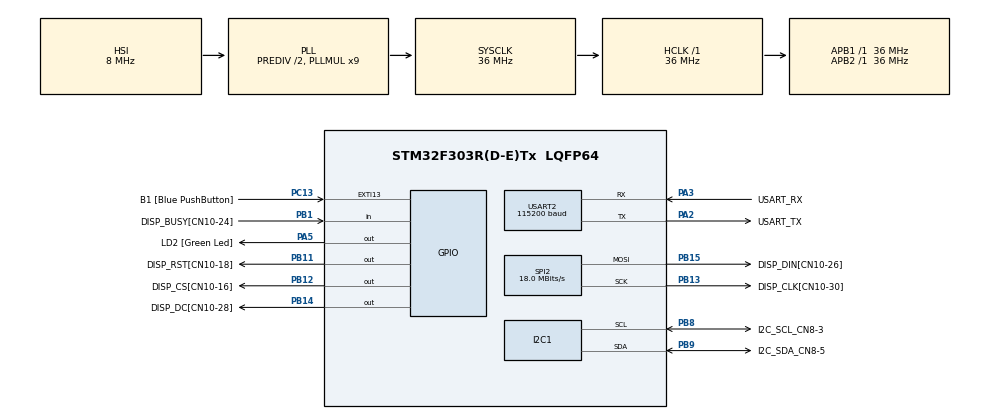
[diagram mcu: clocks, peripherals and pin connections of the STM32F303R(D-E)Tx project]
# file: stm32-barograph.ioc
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Mcu.Family=STM32F3
PA2.GPIO_PuPd=GPIO_NOPULL
RCC.CortexFreq_Value=36000000
ADC1.Overrun=ADC_OVR_DATA_PRESERVED
SPI2.VirtualType=VM_MASTER
ADC1.ContinuousConvMode=ENABLE
PB14.GPIO_Label=DISP_DC[CN10-28]
PA14.GPIO_Label=TCK
NVIC.RTC_WKUP_IRQn=true\:0\:0\:false\:false\:true\:true\:true
RCC.SYSCLKSourceVirtual=RCC_SYSCLKSOURCE_PLLCLK
PA3.GPIO_PuPd=GPIO_NOPULL
PA2.GPIO_Speed=GPIO_SPEED_FREQ_LOW
VP_RTC_VS_RTC_Activate.Mode=RTC_Enabled
PC13.GPIO_Label=B1 [Blue PushButton]
PB13.GPIO_Label=DISP_CLK[CN10-30]
PB11.Signal=GPIO_Output
PA3.GPIO_Speed=GPIO_SPEED_FREQ_LOW
PB13.Signal=SPI2_SCK
PB15.Signal=SPI2_MOSI
ProjectManager.StackSize=0x1000
PB11.GPIO_Speed=GPIO_SPEED_FREQ_HIGH
RTC.WakeUpClock-WakeUp=RTC_WAKEUPCLOCK_CK_SPRE_16BITS
ADC1.Offset-0\#ChannelRegularConversion=0
RCC.HCLKFreq_Value=36000000
ADC1.Resolution=ADC_RESOLUTION_12B
RCC.APB2TimFreq_Value=36000000
RCC.AHBFreq_Value=36000000
SPI2.BaudRatePrescaler=SPI_BAUDRATEPRESCALER_2
NVIC.EXTI15_10_IRQn=true\:0\:0\:false\:false\:true\:true\:true
ADC1.Channel-0\#ChannelRegularConversion=ADC_CHANNEL_VREFINT
RCC.HSE_VALUE=8000000
USART2.VirtualMode-Asynchronous=VM_ASYNC
RCC.RCC_PLLsource_Clock_Source_FROM_HSE=RCC_HSE_PREDIV_DIV2
RCC.RTCClockSelection=RCC_RTCCLKSOURCE_LSE
RCC.PLLMUL=RCC_PLL_MUL9
PB12.GPIO_Label=DISP_CS[CN10-16]
VP_ADC1_Vref_Input.Mode=IN-Vrefint
PC14-OSC32_IN.Mode=LSE-External-Oscillator
PA14.Mode=Serial_Wire
PA5.GPIO_PuPd=GPIO_NOPULL
PB1.GPIO_Label=DISP_BUSY[CN10-24]
SPI2.CalculateBaudRate=18.0 MBits/s
ADC1.SamplingTime-0\#ChannelRegularConversion=ADC_SAMPLETIME_601CYCLES_5
Mcu.Package=LQFP64
PB9.Signal=I2C1_SDA
PB1.Signal=GPIO_Input
SPI2.Mode=SPI_MODE_MASTER
PA2.GPIO_Label=USART_TX
RTC.WakeUpCounter-WakeUp=60
RCC.APB1TimFreq_Value=36000000
SPI2.Direction=SPI_DIRECTION_2LINES
PB13.Mode=TX_Only_Simplex_Unidirect_Master
PA3.Signal=USART2_RX
PA2.GPIO_Mode=GPIO_MODE_AF_PP
PC15-OSC32_OUT.Mode=LSE-External-Oscillator
ADC1.Rank-0\#ChannelRegularConversion=1
PB9.GPIO_Label=I2C_SDA_CN8-5
ADC1.OffsetNumber-0\#ChannelRegularConversion=ADC_OFFSET_NONE
PC13.Signal=GPXTI13
PB11.GPIO_Label=DISP_RST[CN10-18]
PC14-OSC32_IN.Signal=RCC_OSC32_IN
USART2.BaudRate=115200
PA3.Mode=Asynchronous
PA13.Signal=SYS_JTMS-SWDIO
PB8.GPIO_Label=I2C_SCL_CN8-3
ProjectManager.TargetToolchain=STM32CubeIDE
PB14.GPIO_Speed=GPIO_SPEED_FREQ_HIGH
PA3.GPIO_Mode=GPIO_MODE_AF_PP
PB9.Mode=I2C
ADC1.EnableAnalogWatchDog1=false
RCC.PLLDivider=RCC_PREDIV_DIV2
RCC.USBFreq_Value=36000000
PC15-OSC32_OUT.Signal=RCC_OSC32_OUT
PB12.GPIO_Speed=GPIO_SPEED_FREQ_HIGH
PB14.Signal=GPIO_Output
PA5.Signal=GPIO_Output
board=NUCLEO-F303RE
PB15.Mode=TX_Only_Simplex_Unidirect_Master
RCC.APB2Freq_Value=36000000
PB15.GPIO_Label=DISP_DIN[CN10-26]
ADC1.NbrOfConversion=1
PA13.Mode=Serial_Wire
Mcu.Name=STM32F303R(D-E)Tx
PA2.Signal=USART2_TX
PA13.GPIO_Label=TMS
RCC.SYSCLKFreq_VALUE=36000000
ADC1.master=1
PA5.GPIO_Label=LD2 [Green Led]
PC13.GPIO_ModeDefaultEXTI=GPIO_MODE_IT_RISING_FALLING
PA14.Signal=SYS_JTCK-SWCLK
ProjectManager.HeapSize=0x3000
RCC.HSI_VALUE=8000000
VP_RTC_VS_RTC_WakeUp_intern.Mode=WakeUp
RCC.PLLP=RCC_PLLP_DIV4
PA5.GPIO_Speed=GPIO_SPEED_FREQ_LOW
RCC.PLLQ=7
NVIC.PriorityGroup=NVIC_PRIORITYGROUP_0
ADC1.NbrOfConversionFlag=1
RCC.PLLM=8
PB8.Mode=I2C
RCC.PLLN=336
PA2.Mode=Asynchronous
PB8.Signal=I2C1_SCL
SPI2.DataSize=SPI_DATASIZE_8BIT
RCC.APB1Freq_Value=36000000
PA5.GPIO_Mode=GPIO_MODE_OUTPUT_PP
ADC1.ClockPrescaler=ADC_CLOCK_SYNC_PCLK_DIV4
PB12.Signal=GPIO_Output
PA3.GPIO_Label=USART_RX

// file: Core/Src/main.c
/* USER CODE BEGIN Header */
/**
  ******************************************************************************
  * @file           : main.c
  * @brief          : Main program body
  ******************************************************************************
  * @attention
  *
  * <h2><center>&copy; Copyright (c) 2020 STMicroelectronics.
  * All rights reserved.</center></h2>
  *
  * This software component is licensed by ST under BSD 3-Clause license,
  * the "License"; You may not use this file except in compliance with the
  * License. You may obtain a copy of the License at:
  *                        opensource.org/licenses/BSD-3-Clause
  *
  ******************************************************************************
  */
/* USER CODE END Header */

#include "main.h"
#include "adc.h"
#include "i2c.h"
#include "rtc.h"
#include "spi.h"
#include "usart.h"
#include "gpio.h"

/* USER CODE BEGIN Includes */
#include <stdio.h>
#include <stdarg.h>
/* USER CODE END Includes */

void SystemClock_Config(void);

/* USER CODE BEGIN 0 */

#pragma clang diagnostic push
#pragma ide diagnostic ignored "bugprone-reserved-identifier"
__unused int _write(__unused int handle, char *data, int size )
{
    HAL_UART_Transmit(&huart2, (uint8_t*)data, size, size);
    return size;
}
#pragma clang diagnostic pop

/* USER CODE END 0 */

int main(void)
{

  /* MCU Configuration--------------------------------------------------------*/

  /* Reset of all peripherals, Initializes the Flash interface and the Systick. */
  HAL_Init();

  /* Configure the system clock */
  SystemClock_Config();

  /* Initialize all configured peripherals */
  MX_GPIO_Init();
  MX_USART2_UART_Init();
  MX_ADC1_Init();
  MX_I2C1_Init();
  MX_SPI2_Init();
  MX_RTC_Init();

  /* Infinite loop */
  /* USER CODE BEGIN WHILE */
  HAL_RTC_Init(&hrtc);
  cppMain(); //Infinite loop is implemented in C++ part
    /* USER CODE END WHILE */

}

void SystemClock_Config(void)
{
  RCC_OscInitTypeDef RCC_OscInitStruct = {0};
  RCC_ClkInitTypeDef RCC_ClkInitStruct = {0};
  RCC_PeriphCLKInitTypeDef PeriphClkInit = {0};

  /** Configure LSE Drive Capability
  */
  HAL_PWR_EnableBkUpAccess();
  __HAL_RCC_LSEDRIVE_CONFIG(RCC_LSEDRIVE_LOW);
  /** Initializes the CPU, AHB and APB busses clocks
  */
  RCC_OscInitStruct.OscillatorType = RCC_OSCILLATORTYPE_HSI|RCC_OSCILLATORTYPE_LSE;
  RCC_OscInitStruct.LSEState = RCC_LSE_ON;
  RCC_OscInitStruct.HSIState = RCC_HSI_ON;
  RCC_OscInitStruct.HSICalibrationValue = RCC_HSICALIBRATION_DEFAULT;
  RCC_OscInitStruct.PLL.PLLState = RCC_PLL_ON;
  RCC_OscInitStruct.PLL.PLLSource = RCC_PLLSOURCE_HSI;
  RCC_OscInitStruct.PLL.PLLMUL = RCC_PLL_MUL9;
  RCC_OscInitStruct.PLL.PREDIV = RCC_PREDIV_DIV2;
  if (HAL_RCC_OscConfig(&RCC_OscInitStruct) != HAL_OK)
  {
    Error_Handler();
  }
  /** Initializes the CPU, AHB and APB busses clocks
  */
  RCC_ClkInitStruct.ClockType = RCC_CLOCKTYPE_HCLK|RCC_CLOCKTYPE_SYSCLK
                              |RCC_CLOCKTYPE_PCLK1|RCC_CLOCKTYPE_PCLK2;
  RCC_ClkInitStruct.SYSCLKSource = RCC_SYSCLKSOURCE_PLLCLK;
  RCC_ClkInitStruct.AHBCLKDivider = RCC_SYSCLK_DIV1;
  RCC_ClkInitStruct.APB1CLKDivider = RCC_HCLK_DIV1;
  RCC_ClkInitStruct.APB2CLKDivider = RCC_HCLK_DIV1;

  if (HAL_RCC_ClockConfig(&RCC_ClkInitStruct, FLASH_LATENCY_1) != HAL_OK)
  {
    Error_Handler();
  }
  PeriphClkInit.PeriphClockSelection = RCC_PERIPHCLK_USART2|RCC_PERIPHCLK_I2C1
                              |RCC_PERIPHCLK_RTC;
  PeriphClkInit.Usart2ClockSelection = RCC_USART2CLKSOURCE_PCLK1;
  PeriphClkInit.I2c1ClockSelection = RCC_I2C1CLKSOURCE_HSI;
  PeriphClkInit.RTCClockSelection = RCC_RTCCLKSOURCE_LSE;
  if (HAL_RCCEx_PeriphCLKConfig(&PeriphClkInit) != HAL_OK)
  {
    Error_Handler();
  }
}

/* USER CODE BEGIN 4 */

void reportError(const char *format, ...) {
    va_list(args);
    va_start(args, format);
    vprintf(format, args);
    va_end(args);
    MX_GPIO_Init();
    MX_USART2_UART_Init();
#pragma clang diagnostic push
#pragma ide diagnostic ignored "EndlessLoop"
    for (int i = 0; i < 100; i++) {
        HAL_GPIO_TogglePin(LD2_GPIO_Port, LD2_Pin);
        //Interrupts might be disabled, let's use delay loop instead of delay functions
        for (long long j = 0; j < 100000; ++j) {
            __NOP();
        }
    }
    HAL_NVIC_SystemReset();
    while (1);
#pragma clang diagnostic pop
}

void halError(const char * funcName, const HAL_StatusTypeDef status) {
    if (status != HAL_OK) {
        reportError("Function: %s; HAL reported: %d\r\n", funcName, status);
    }
}

/**
  * @brief  This function provides delay in milliseconds, optimized for energy consumption using Sleep mode
  *
  * @param  Delay specifies the delay time length, in milliseconds.
  * @retval None
  */
void HAL_Delay(uint32_t Delay)
{
    uint32_t tickstart = HAL_GetTick();
    uint32_t wait = Delay;

    /* Add freq to guarantee minimum wait */
    if (wait < HAL_MAX_DELAY)
    {
        wait += (uint32_t)(uwTickFreq);
    }

    while((HAL_GetTick() - tickstart) < wait)
    {
        __WFI();
    }
}

/* USER CODE END 4 */

void Error_Handler(void)
{
  /* USER CODE BEGIN Error_Handler_Debug */
  reportError("Error Handler is hit\r\n" );
  /* USER CODE END Error_Handler_Debug */
}

#ifdef  USE_FULL_ASSERT
/**
  * @brief  Reports the name of the source file and the source line number
  *         where the assert_param error has occurred.
  * @param  file: pointer to the source file name
  * @param  line: assert_param error line source number
  * @retval None
  */
void assert_failed(uint8_t *file, uint32_t line)
{
  /* USER CODE BEGIN 6 */
   reportError("Wrong parameters value: file %s on line %ld\r\n", file, line);
  /* USER CODE END 6 */
}
#endif /* USE_FULL_ASSERT */

/************************ (C) COPYRIGHT STMicroelectronics *****END OF FILE****/
